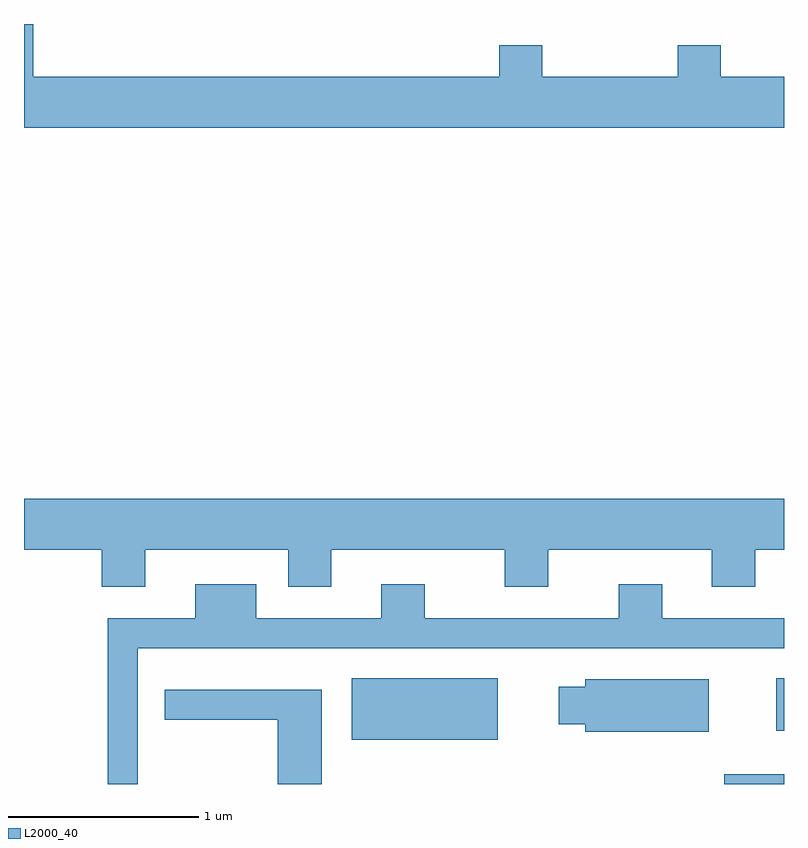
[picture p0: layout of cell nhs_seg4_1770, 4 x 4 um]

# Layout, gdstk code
import gdstk
lib = gdstk.Library(unit=1e-6, precision=1e-09)
def R(c, l, rs):  # rectangles x0, y0, x1, y1
    for r in rs: c.add(gdstk.rectangle(r[:2], r[2:], *l))
def P(c, l, *ps):  # polygons
    for p in ps: c.add(gdstk.Polygon(p, *l))
L2000_40 = (2000, 40)

nhs_seg4_1770 = lib.new_cell('nhs_seg4_1770')
R(nhs_seg4_1770, L2000_40, [(241.296,1257.982,241.611,1258.034), (239.336,1258.216,240.104,1258.539), (241.571,1258.261,241.611,1258.539)])
P(nhs_seg4_1770, L2000_40, [(241.611,1261.704),(241.279,1261.704),(241.279,1261.869),(241.051,1261.869),(241.051,1261.704),(240.339,1261.704),(240.339,1261.869),(240.111,1261.869),(240.111,1261.704),(237.659,1261.704),(237.659,1261.982),(237.611,1261.982),(237.611,1261.436),(241.611,1261.436)],
  [(238.249,1259.216),(239.001,1259.216),(239.001,1259.021),(239.229,1259.021),(239.229,1259.216),(240.141,1259.216),(240.141,1259.021),(240.369,1259.021),(240.369,1259.216),(241.231,1259.216),(241.231,1259.021),(241.459,1259.021),(241.459,1259.216),(241.611,1259.216),(241.611,1259.484),(237.611,1259.484),(237.611,1259.216),(238.021,1259.216),(238.021,1259.021),(238.249,1259.021)],
  [(238.209,1258.696),(241.611,1258.696),(241.611,1258.854),(240.969,1258.854),(240.969,1259.034),(240.741,1259.034),(240.741,1258.854),(239.719,1258.854),(239.719,1259.034),(239.491,1259.034),(239.491,1258.854),(238.834,1258.854),(238.834,1259.034),(238.511,1259.034),(238.511,1258.854),(238.051,1258.854),(238.051,1257.982),(238.209,1257.982)],
  [(241.214,1258.534),(240.566,1258.534),(240.566,1258.494),(240.426,1258.494),(240.426,1258.296),(240.566,1258.296),(240.566,1258.256),(241.214,1258.256)],
  [(239.179,1258.479),(238.353,1258.479),(238.353,1258.321),(238.946,1258.321),(238.946,1257.982),(239.179,1257.982)])

lib.write_gds('nhs_seg4_1770.gds')
